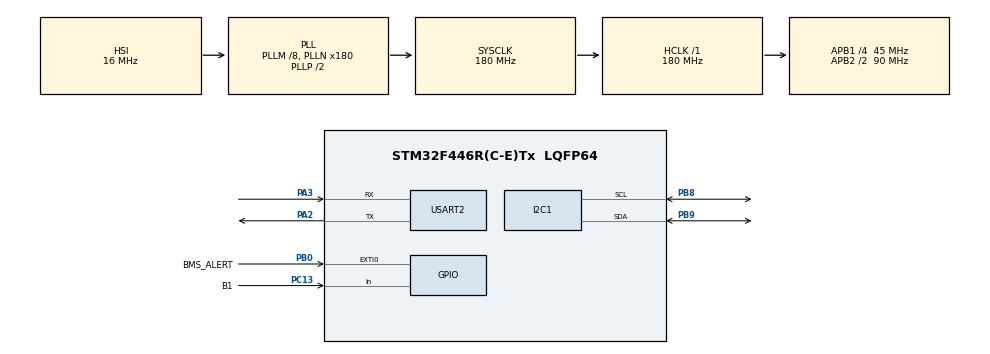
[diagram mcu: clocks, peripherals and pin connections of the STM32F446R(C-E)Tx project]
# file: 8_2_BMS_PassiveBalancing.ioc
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Mcu.Family=STM32F4
Mcu.Name=STM32F446R(C-E)Tx
Mcu.Package=LQFP64
NVIC.EXTI0_IRQn=true\:0\:0\:false\:false\:true\:true\:true\:true
NVIC.PriorityGroup=NVIC_PRIORITYGROUP_4
PA2.Mode=Asynchronous
PA2.Signal=USART2_TX
PA3.Mode=Asynchronous
PA3.Signal=USART2_RX
PB0.GPIO_Label=BMS_ALERT
PB0.GPIO_PuPd=GPIO_PULLDOWN
PB0.Signal=GPXTI0
PB8.Mode=I2C
PB8.Signal=I2C1_SCL
PB9.Mode=I2C
PB9.Signal=I2C1_SDA
PC13.GPIO_Label=B1
PC13.Signal=GPIO_Input
ProjectManager.HeapSize=0x200
ProjectManager.StackSize=0x400
ProjectManager.TargetToolchain=STM32CubeIDE
RCC.AHBFreq_Value=180000000
RCC.APB1CLKDivider=RCC_HCLK_DIV4
RCC.APB1Freq_Value=45000000
RCC.APB1TimFreq_Value=90000000
RCC.APB2CLKDivider=RCC_HCLK_DIV2
RCC.APB2Freq_Value=90000000
RCC.APB2TimFreq_Value=180000000
RCC.CortexFreq_Value=180000000
RCC.HCLKFreq_Value=180000000
RCC.PLLM=8
RCC.PLLN=180
RCC.SYSCLKFreq_VALUE=180000000
RCC.SYSCLKSource=RCC_SYSCLKSOURCE_PLLCLK
RCC.USBFreq_Value=180000000
RCC.VCOOutputFreq_Value=360000000
USART2.VirtualMode=VM_ASYNC
board=custom

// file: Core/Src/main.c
/* USER CODE BEGIN Header */
/**
  ******************************************************************************
  * @file           : main.c
  * @brief          : Main program body
  ******************************************************************************
  * @attention
  *
  * Copyright (c) 2026 STMicroelectronics.
  * All rights reserved.
  *
  * This software is licensed under terms that can be found in the LICENSE file
  * in the root directory of this software component.
  * If no LICENSE file comes with this software, it is provided AS-IS.
  *
  ******************************************************************************
  */
/* USER CODE END Header */
#include "main.h"

/* USER CODE BEGIN Includes */
#include <stdio.h>
#include <string.h>
#include "bq76920.h"
#include "balance.h"
/* USER CODE END Includes */

/* USER CODE BEGIN PD */
#define BLEED_TEST 0   /* 1 = at start, bleed Cell 2 for 20 s so it can be measured; 0 = off */
/* USER CODE END PD */

I2C_HandleTypeDef hi2c1;

UART_HandleTypeDef huart2;

/* USER CODE BEGIN PV */
char buf[160];
BAL_Pack  pack;
BAL_State state = BAL_RUNNING;
/* USER CODE END PV */

void SystemClock_Config(void);
static void MX_GPIO_Init(void);
static void MX_I2C1_Init(void);
static void MX_USART2_UART_Init(void);

/* USER CODE BEGIN 0 */
static void send(const char *s)
{
  HAL_UART_Transmit(&huart2, (uint8_t *)s, strlen(s), HAL_MAX_DELAY);
}

/* Print "Cell1=... Cell2=... mV" followed by tail text and a new line. */
static void print_cells(const char *tail)
{
  int n = 0;
  for (uint8_t k = 0; k < pack.count; k++)
  {
    n += snprintf(buf + n, sizeof(buf) - n, "Cell%u=%u ", k + 1, pack.mv[k]);
  }
  snprintf(buf + n, sizeof(buf) - n, "mV%s\r\n", tail);
  send(buf);
}
/* USER CODE END 0 */

int main(void)
{

  /* MCU Configuration--------------------------------------------------------*/

  /* Reset of all peripherals, Initializes the Flash interface and the Systick. */
  HAL_Init();

  /* Configure the system clock */
  SystemClock_Config();

  /* Initialize all configured peripherals */
  MX_GPIO_Init();
  MX_I2C1_Init();
  MX_USART2_UART_Init();
  /* USER CODE BEGIN 2 */
  if (BQ76920_Init(&hi2c1) != HAL_OK || BAL_Detect(&pack) != HAL_OK)
  {
    while (1)                                   /* repeat, so a late Hercules still sees it */
    {
      send("BMS init failed\r\n");
      HAL_Delay(1000);
    }
  }
#if BLEED_TEST
  send("Bleed test: Cell2 on for 20 s, measure now\r\n");
  BQ76920_SetBalance(0x02);                     /* CB2 = chip input VC2 */
  HAL_Delay(20000);
  BAL_Read(&pack);
  print_cells("  (read while bleeding Cell2)");
  BQ76920_SetBalance(0);
  send("Bleed test done\r\n");
  HAL_Delay(2000);
  BAL_Read(&pack);
#endif
  snprintf(buf, sizeof(buf), "%u cells found\r\n", pack.count);
  send(buf);
  print_cells("");                              /* voltage of every cell */
  send("Starting balancing\r\n");
  /* USER CODE END 2 */

  /* Infinite loop */
  while (1)
  {

    /* USER CODE BEGIN 3 */
    HAL_Delay(1000);                            /* one step per second */

    if (state == BAL_RUNNING)
    {
      state = BAL_Tick(&pack);                  /* 4 s bleeding, 1 s rest, until balanced */
      if (state == BAL_RUNNING)
      {
        char tail[64] = "  resting";
        if (pack.bleed != 0)
        {
          int t = snprintf(tail, sizeof(tail), "  bleeding:");
          for (uint8_t k = 0; k < pack.count; k++)
          {
            if (pack.bleed & (1U << pack.input[k]))
            {
              t += snprintf(tail + t, sizeof(tail) - t, " Cell%u", k + 1);
            }
          }
          uint8_t cb = 0;                       /* read CELLBAL1 back to see what the chip holds */
          BQ76920_ReadReg(0x01, &cb);
          snprintf(tail + t, sizeof(tail) - t, " (CELLBAL1=0x%02X)", cb);
        }
        print_cells(tail);
      }
      else if (state == BAL_DONE)
      {
        send("Finish balancing\r\n");
      }
      else
      {
        send("I2C error, balancing stopped\r\n");
      }
    }
    else if (state == BAL_DONE)
    {
      if (BAL_Read(&pack) == HAL_OK)            /* keep showing the cells and the pack total */
      {
        uint32_t total = 0;
        for (uint8_t k = 0; k < pack.count; k++) total += pack.mv[k];
        char tail[32];
        snprintf(tail, sizeof(tail), "  Pack=%lu mV", (unsigned long)total);
        print_cells(tail);
      }
    }
  }
  /* USER CODE END 3 */
}

void SystemClock_Config(void)
{
  RCC_OscInitTypeDef RCC_OscInitStruct = {0};
  RCC_ClkInitTypeDef RCC_ClkInitStruct = {0};

  /** Configure the main internal regulator output voltage
  */
  __HAL_RCC_PWR_CLK_ENABLE();
  __HAL_PWR_VOLTAGESCALING_CONFIG(PWR_REGULATOR_VOLTAGE_SCALE1);

  /** Initializes the RCC Oscillators according to the specified parameters
  * in the RCC_OscInitTypeDef structure.
  */
  RCC_OscInitStruct.OscillatorType = RCC_OSCILLATORTYPE_HSI;
  RCC_OscInitStruct.HSIState = RCC_HSI_ON;
  RCC_OscInitStruct.HSICalibrationValue = RCC_HSICALIBRATION_DEFAULT;
  RCC_OscInitStruct.PLL.PLLState = RCC_PLL_ON;
  RCC_OscInitStruct.PLL.PLLSource = RCC_PLLSOURCE_HSI;
  RCC_OscInitStruct.PLL.PLLM = 8;
  RCC_OscInitStruct.PLL.PLLN = 180;
  RCC_OscInitStruct.PLL.PLLP = RCC_PLLP_DIV2;
  RCC_OscInitStruct.PLL.PLLQ = 2;
  RCC_OscInitStruct.PLL.PLLR = 2;
  if (HAL_RCC_OscConfig(&RCC_OscInitStruct) != HAL_OK)
  {
    Error_Handler();
  }

  /** Activate the Over-Drive mode
  */
  if (HAL_PWREx_EnableOverDrive() != HAL_OK)
  {
    Error_Handler();
  }

  /** Initializes the CPU, AHB and APB buses clocks
  */
  RCC_ClkInitStruct.ClockType = RCC_CLOCKTYPE_HCLK|RCC_CLOCKTYPE_SYSCLK
                              |RCC_CLOCKTYPE_PCLK1|RCC_CLOCKTYPE_PCLK2;
  RCC_ClkInitStruct.SYSCLKSource = RCC_SYSCLKSOURCE_PLLCLK;
  RCC_ClkInitStruct.AHBCLKDivider = RCC_SYSCLK_DIV1;
  RCC_ClkInitStruct.APB1CLKDivider = RCC_HCLK_DIV4;
  RCC_ClkInitStruct.APB2CLKDivider = RCC_HCLK_DIV2;

  if (HAL_RCC_ClockConfig(&RCC_ClkInitStruct, FLASH_LATENCY_5) != HAL_OK)
  {
    Error_Handler();
  }
}

static void MX_I2C1_Init(void)
{

  hi2c1.Instance = I2C1;
  hi2c1.Init.ClockSpeed = 100000;
  hi2c1.Init.DutyCycle = I2C_DUTYCYCLE_2;
  hi2c1.Init.OwnAddress1 = 0;
  hi2c1.Init.AddressingMode = I2C_ADDRESSINGMODE_7BIT;
  hi2c1.Init.DualAddressMode = I2C_DUALADDRESS_DISABLE;
  hi2c1.Init.OwnAddress2 = 0;
  hi2c1.Init.GeneralCallMode = I2C_GENERALCALL_DISABLE;
  hi2c1.Init.NoStretchMode = I2C_NOSTRETCH_DISABLE;
  if (HAL_I2C_Init(&hi2c1) != HAL_OK)
  {
    Error_Handler();
  }

}

static void MX_USART2_UART_Init(void)
{

  huart2.Instance = USART2;
  huart2.Init.BaudRate = 115200;
  huart2.Init.WordLength = UART_WORDLENGTH_8B;
  huart2.Init.StopBits = UART_STOPBITS_1;
  huart2.Init.Parity = UART_PARITY_NONE;
  huart2.Init.Mode = UART_MODE_TX_RX;
  huart2.Init.HwFlowCtl = UART_HWCONTROL_NONE;
  huart2.Init.OverSampling = UART_OVERSAMPLING_16;
  if (HAL_UART_Init(&huart2) != HAL_OK)
  {
    Error_Handler();
  }

}

static void MX_GPIO_Init(void)
{
  GPIO_InitTypeDef GPIO_InitStruct = {0};

  /* GPIO Ports Clock Enable */
  __HAL_RCC_GPIOC_CLK_ENABLE();
  __HAL_RCC_GPIOA_CLK_ENABLE();
  __HAL_RCC_GPIOB_CLK_ENABLE();

  /*Configure GPIO pin : B1_Pin */
  GPIO_InitStruct.Pin = B1_Pin;
  GPIO_InitStruct.Mode = GPIO_MODE_INPUT;
  GPIO_InitStruct.Pull = GPIO_NOPULL;
  HAL_GPIO_Init(B1_GPIO_Port, &GPIO_InitStruct);

  /*Configure GPIO pin : BMS_ALERT_Pin */
  GPIO_InitStruct.Pin = BMS_ALERT_Pin;
  GPIO_InitStruct.Mode = GPIO_MODE_IT_RISING;
  GPIO_InitStruct.Pull = GPIO_PULLDOWN;
  HAL_GPIO_Init(BMS_ALERT_GPIO_Port, &GPIO_InitStruct);

  /* EXTI interrupt init*/
  HAL_NVIC_SetPriority(EXTI0_IRQn, 0, 0);
  HAL_NVIC_EnableIRQ(EXTI0_IRQn);

}

void Error_Handler(void)
{
  __disable_irq();
  while (1)
  {
  }
}
